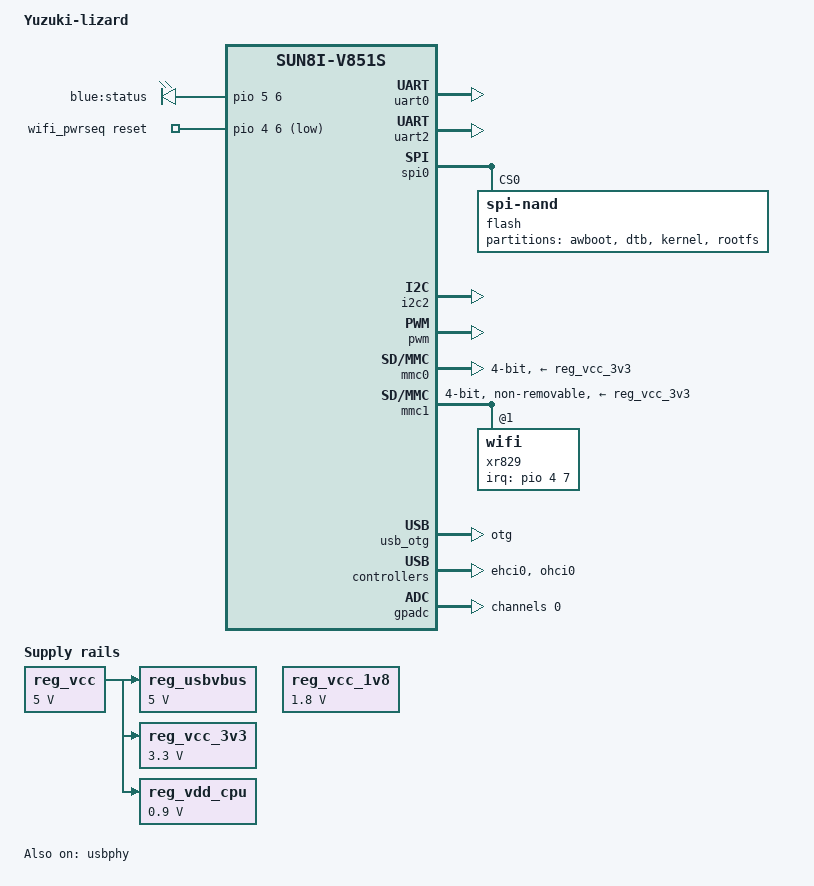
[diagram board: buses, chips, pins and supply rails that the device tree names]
// SPDX-License-Identifier: (GPL-2.0+ or MIT)
// Copyright (C) 2022 Samuel Holland <samuel@sholland.org>

/dts-v1/;

#include <dt-bindings/gpio/gpio.h>
#include <dt-bindings/leds/common.h>
#include "sun8i-v851s.dtsi"

/ {
	model = "Yuzuki-lizard";
	compatible = "allwinner,sun8i-v851s", "allwinner,sun8i";

	aliases {
		/*serial0 = &uart0;*/
		serial2 = &uart2;
	};

		chosen {
				stdout-path = "serial2:115200n8";
/*				stdout-path = "serial2:115200n8"; */
				bootargs = "mem=64M root=/dev/mmcblk0p2 init=/sbin/init console=ttyS2,115200 earlyprintk=sunxi-uart,0x02500800 rootwait";
/*				bootargs = "mem=64M cma=32M root=/dev/mmcblk0p2 init=/sbin/init rootwait console=ttyS0,115200 earlyprintk=sunxi-uart,0x02500000";*/
/*				bootargs = "mem=64M root=/dev/mmcblk0p2 init=/sbin/init console=ttyS2,115200 earlyprintk=sunxi-uart,0x02500800 rootwait"; */
/*				bootargs = "mem=64M cma=2M ubi.mtd=3 rootfstype=ubifs root=ubi0:rootfs rw rootwait console=ttyS0,115200"; */
/*				bootargs = "mem=64M cma=2M ubi.mtd=3 rootfstype=ubifs root=ubi0:rootfs rw rootwait console=ttyS2,115200"; */
		};

	reg_vcc: vcc {
		compatible = "regulator-fixed";
		regulator-name = "vcc";
		regulator-min-microvolt = <5000000>;
		regulator-max-microvolt = <5000000>;
	};

	reg_vcc_1v8: vcc-1v8 {
		compatible = "regulator-fixed";
		regulator-name = "vcc-1v8";
		regulator-min-microvolt = <1800000>;
		regulator-max-microvolt = <1800000>;
	};

	reg_usbvbus: usbvbus {
		compatible = "regulator-fixed";
		regulator-name = "usbvbus";
		regulator-min-microvolt = <5000000>;
		regulator-max-microvolt = <5000000>;
		vin-supply = <&reg_vcc>;
	};

	reg_vcc_3v3: vcc-3v3 {
		compatible = "regulator-fixed";
		regulator-name = "vcc-3v3";
		regulator-min-microvolt = <3300000>;
		regulator-max-microvolt = <3300000>;
		vin-supply = <&reg_vcc>;
	};

	reg_vdd_cpu: vdd-cpu {
		compatible = "regulator-fixed";
		regulator-name = "vdd-cpu";
		regulator-min-microvolt = <900000>;
		regulator-max-microvolt = <900000>;
		vin-supply = <&reg_vcc>;
	};

/* A (B) C D E F (G) H */

		leds {
				compatible = "gpio-leds";
				status_led {
						linux,default-trigger = "heartbeat";
						label = "blue:status";
						gpios = <&pio 5 6 GPIO_ACTIVE_HIGH>;
				};
		};

		wifi_pwrseq: wifi-pwrseq {
				compatible = "mmc-pwrseq-simple";
				reset-gpios = <&pio 4 6 GPIO_ACTIVE_LOW>; /* PE6 */
		};
};


&cpu0 {
	cpu-supply = <&reg_vdd_cpu>;
};

&pio {

	vcc-pa-supply = <&reg_vcc_3v3>;
	vcc-pc-supply = <&reg_vcc_3v3>;
	vcc-pd-supply = <&reg_vcc_3v3>;
	vcc-pe-supply = <&reg_vcc_3v3>;
	vcc-pf-supply = <&reg_vcc_3v3>;
	vcc-ph-supply = <&reg_vcc_3v3>;
};

&uart0 {
	pinctrl-0 = <&uart0_ph9_pins>;
	pinctrl-names = "default";
	status = "okay";
};

&uart2 {
	pinctrl-0 = <&uart2_pe12_pins>;
	pinctrl-names = "default";
	status = "okay";
};

&spi0 {
		pinctrl-0 = <&spi0_pins>;
		pinctrl-names = "default";
		status = "okay";

		flash@0 {
				compatible = "spi-nand";
				reg = <0>;

				partitions {
						compatible = "fixed-partitions";
						#address-cells = <1>;
						#size-cells = <1>;

						partition@0 {
								label = "awboot";
								reg = <0x00000000 0x00020000>;	/* 128K */
						};

						partition@20000 {
								label = "dtb";
								reg = <0x00020000 0x00020000>;  /* 128k */
						};

						partition@40000 {
								label = "kernel";
								reg = <0x00040000 0x00800000>;  /* 8MB */
						};

						partition@840000 {
								label = "rootfs";
								reg = <0x00840000 0x077c0000>;
						};
				};
		};

};

&i2c2 {
	pinctrl-0 = <&i2c2_ph11_pins>;
	pinctrl-names = "default";
	status = "okay";
};

&pwm {
	pinctrl-0 = <&pwm_ph0_pin>;
	pinctrl-names = "default";
	status = "okay";
};

&mmc0 {
	bus-width = <4>;
/*	cd-gpios = <&pio 5 6 (GPIO_ACTIVE_HIGH)>; */
	disable-wp;
	vmmc-supply = <&reg_vcc_3v3>;
	vqmmc-supply = <&reg_vcc_3v3>;
	pinctrl-0 = <&mmc0_pins>;
	pinctrl-names = "default";
	status = "okay";
};

&mmc1 {
	bus-width = <4>;
	mmc-pwrseq = <&wifi_pwrseq>;
	non-removable;
	vmmc-supply = <&reg_vcc_3v3>;
	vqmmc-supply = <&reg_vcc_3v3>;
	pinctrl-0 = <&mmc1_pins>;
	pinctrl-names = "default";
	status = "okay";

		xr829: wifi@1 {
				reg = <1>;
		interrupt-parent = <&pio>;
		interrupts = <4 7 IRQ_TYPE_LEVEL_HIGH>; /* PE7 */
		interrupt-names = "host-wake";
		};
};

&usb_otg {
	dr_mode = "otg";
	status = "okay";
};

&ehci0 {
	status = "okay";
};

&ohci0 {
	status = "okay";
};

&usbphy {
	usb0_vbus-supply = <&reg_usbvbus>;
	usb1_vbus-supply = <&reg_usbvbus>;
	status = "okay";
};

&gpadc {
		status = "okay";

		#address-cells = <1>;
		#size-cells = <0>;

		channel@0 {
			reg = <0>;
		};
};
